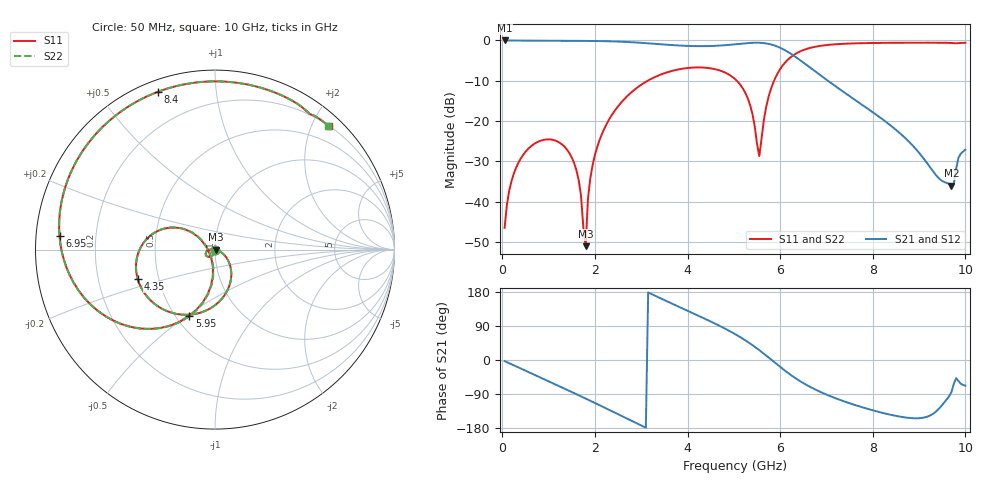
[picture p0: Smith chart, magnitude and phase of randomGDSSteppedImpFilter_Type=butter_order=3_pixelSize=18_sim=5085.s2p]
! freq	dB(S11)	phase(S11)	dB(S12)	phase(S12)
!  dB(S21)	phase(S21)	dB(S22)	phase(S22)
!S-par simulation data
#  GHz  S  DB  R 50
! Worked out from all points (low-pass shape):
!   200 points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, 50 MHz to 10 GHz, reference 50 ohm
!   highest |S21| = 0.00 dB at 50 MHz (marker M1); lowest = -36.0 dB at 9.7 GHz (marker M2)
!   |S21| within 3 dB of the highest: start of sweep to 6.189 GHz
!   lowest |S11| = -51.0 dB at 1.8 GHz (marker M3), VSWR 1.01, Z = 50.3 - j0.0345 ohm
!   |S11| at or under -10 dB: start of sweep to 3.139 GHz; 5.063 GHz to 5.869 GHz (805.7 MHz wide, 14.7 % of centre)
!   |S22| runs from -51.1 to -0.6 dB; largest |S21 - S12| = 0
!   S11 on the Smith chart (normalised r, x): 50 MHz: 1.00, -0.01; 4.35 GHz: 0.38, -0.16; 5.95 GHz: 0.59, -0.51; 6.95 GHz: 0.07, +0.04; 8.4 GHz: 0.05, +0.70; 10 GHz: 0.21, +2.26
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0.05  -46.48 -89.6  -0.00 -2.9  -0.00 -2.9  -46.48 -89.6
0.35  -30.29 -109.3  -0.03 -19.7  -0.03 -19.7  -30.29 -109.3
1  -24.54 -147.0  -0.08 -56.2  -0.08 -56.2  -24.53 -147.1
1.55  -30.39 -178.5  -0.10 -87.3  -0.10 -87.3  -30.38 -178.7
1.75  -46.36 166.8  -0.11 -98.8  -0.11 -98.8  -46.31 165.5
1.8  -51.03 -7.0  -0.12 -101.7  -0.12 -101.7  -51.08 -4.7
1.9  -34.23 -17.6  -0.13 -107.5  -0.13 -107.5  -34.24 -17.3
2.15  -23.25 -32.8  -0.16 -122.2  -0.16 -122.2  -23.25 -32.7
2.8  -12.74 -71.6  -0.44 -161.0  -0.44 -161.0  -12.74 -71.5
3.4  -8.56 -106.5  -0.93 163.8  -0.93 163.8  -8.56 -106.5
4.35  -6.73 -159.1  -1.42 110.2  -1.42 110.2  -6.73 -159.2
5.05  -9.84 159.9  -0.93 66.7  -0.93 66.7  -9.85 159.7
5.35  -15.99 143.6  -0.62 43.6  -0.62 43.6  -16.01 143.0
5.55  -28.70 -148.6  -0.57 25.9  -0.57 25.9  -29.20 -148.0
5.7  -16.40 -94.7  -0.74 11.5  -0.74 11.5  -16.43 -93.8
5.95  -8.06 -111.1  -1.56 -13.3  -1.56 -13.3  -8.07 -110.7
6.7  -1.70 -170.1  -7.18 -74.3  -7.18 -74.3  -1.71 -169.9
6.95  -1.22 175.1  -9.32 -88.7  -9.32 -88.7  -1.22 175.3
8.35  -0.59 112.0  -20.78 -143.6  -20.78 -143.6  -0.59 112.1
8.4  -0.58 110.0  -21.23 -145.0  -21.23 -145.0  -0.58 110.1
9.7  -0.63 58.5  -36.00 -84.3  -36.00 -84.3  -0.62 58.7
10  -0.59 47.4  -27.11 -67.6  -27.11 -67.6  -0.59 47.4
